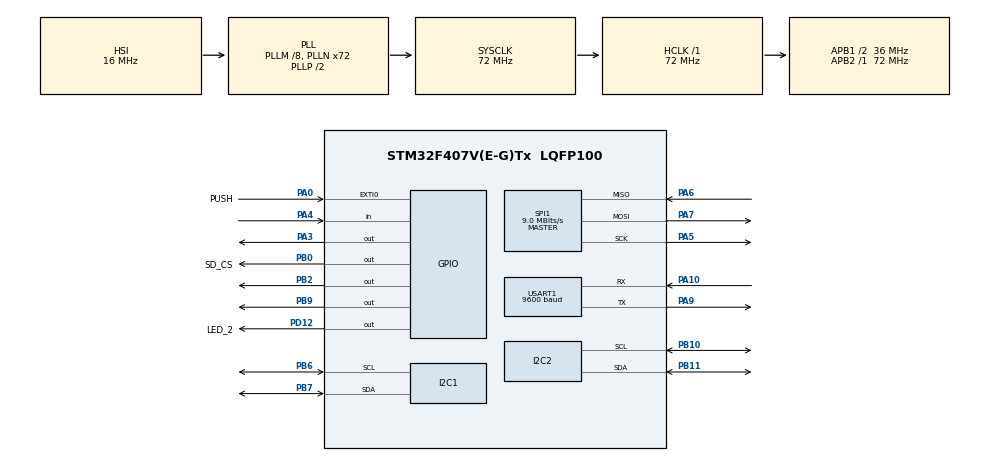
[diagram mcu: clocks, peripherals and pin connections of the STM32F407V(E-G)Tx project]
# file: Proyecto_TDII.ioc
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FATFS._FS_TINY=1
FATFS._USE_LFN=1
I2C1.I2C_Mode=I2C_Fast
I2C2.I2C_Mode=I2C_Fast
Mcu.Family=STM32F4
Mcu.Name=STM32F407V(E-G)Tx
Mcu.Package=LQFP100
NVIC.EXTI0_IRQn=true\:1\:0\:true\:false\:true\:true\:true\:true
NVIC.PriorityGroup=NVIC_PRIORITYGROUP_4
NVIC.RTC_Alarm_IRQn=true\:0\:0\:true\:false\:true\:true\:true\:true
PA0-WKUP.GPIO_Label=PUSH
PA0-WKUP.GPIO_PuPd=GPIO_PULLDOWN
PA0-WKUP.Signal=GPXTI0
PA10.Mode=Asynchronous
PA10.Signal=USART1_RX
PA13.Mode=Serial_Wire
PA13.Signal=SYS_JTMS-SWDIO
PA14.Mode=Serial_Wire
PA14.Signal=SYS_JTCK-SWCLK
PA3.Signal=GPIO_Output
PA4.Signal=GPIO_Input
PA5.Mode=Full_Duplex_Master
PA5.Signal=SPI1_SCK
PA6.Mode=Full_Duplex_Master
PA6.Signal=SPI1_MISO
PA7.Mode=Full_Duplex_Master
PA7.Signal=SPI1_MOSI
PA9.Mode=Asynchronous
PA9.Signal=USART1_TX
PB0.GPIO_Label=SD_CS
PB0.Signal=GPIO_Output
PB10.Mode=I2C
PB10.Signal=I2C2_SCL
PB11.Mode=I2C
PB11.Signal=I2C2_SDA
PB2.Signal=GPIO_Output
PB6.Mode=I2C
PB6.Signal=I2C1_SCL
PB7.Mode=I2C
PB7.Signal=I2C1_SDA
PB9.Signal=GPIO_Output
PD12.GPIO_Label=LED_2
PD12.Signal=GPIO_Output
PH0-OSC_IN.Mode=HSE-External-Oscillator
PH0-OSC_IN.Signal=RCC_OSC_IN
PH1-OSC_OUT.Mode=HSE-External-Oscillator
PH1-OSC_OUT.Signal=RCC_OSC_OUT
ProjectManager.HeapSize=0x200
ProjectManager.StackSize=0x400
ProjectManager.TargetToolchain=STM32CubeIDE
RCC.48MHZClocksFreq_Value=36000000
RCC.AHBFreq_Value=72000000
RCC.APB1CLKDivider=RCC_HCLK_DIV2
RCC.APB1Freq_Value=36000000
RCC.APB1TimFreq_Value=72000000
RCC.APB2Freq_Value=72000000
RCC.APB2TimFreq_Value=72000000
RCC.CortexFreq_Value=72000000
RCC.HCLKFreq_Value=72000000
RCC.HSE_VALUE=25000000
RCC.HSI_VALUE=16000000
RCC.LSE_VALUE=32768
RCC.PLLM=8
RCC.PLLN=72
RCC.SYSCLKFreq_VALUE=72000000
RCC.SYSCLKSource=RCC_SYSCLKSOURCE_PLLCLK
RCC.VCOOutputFreq_Value=144000000
RTC.Alarm=RTC_ALARM_A
RTC.Date=12
RTC.Month=RTC_MONTH_SEPTEMBER
RTC.Seconds=2
RTC.Seconds_A=1
RTC.WeekDay=RTC_WEEKDAY_TUESDAY
SPI1.BaudRatePrescaler=SPI_BAUDRATEPRESCALER_8
SPI1.CalculateBaudRate=9.0 MBits/s
SPI1.Direction=SPI_DIRECTION_2LINES
SPI1.Mode=SPI_MODE_MASTER
SPI1.VirtualType=VM_MASTER
TIM1.Prescaler=71
TIM2.Period=65535
TIM2.Prescaler=71
USART1.BaudRate=9600
USART1.VirtualMode=VM_ASYNC
VP_FATFS_VS_Generic.Mode=User_defined
VP_RTC_VS_RTC_Activate.Mode=RTC_Enabled
VP_RTC_VS_RTC_Alarm_A_Intern.Mode=Alarm A
VP_RTC_VS_RTC_Calendar.Mode=RTC_Calendar
VP_TIM1_VS_ClockSourceINT.Mode=Internal
VP_TIM2_VS_ClockSourceINT.Mode=Internal
board=custom

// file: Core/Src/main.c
/* USER CODE BEGIN Header */
/**
  ******************************************************************************
  * @file           : main.c
  * @brief          : Main program body
  ******************************************************************************
  * @attention
  *
  * Autor : Pazos Aldana
  * Data Logger
  *
  ******************************************************************************
  */
/* USER CODE END Header */
#include "main.h"
#include "fatfs.h"

/* USER CODE BEGIN Includes */
#include "fatfs_sd.h"
#include <string.h>
#include <stdio.h>
#include "ssd1306.h"
#include "bitmap.h"

/* USER CODE END Includes */

I2C_HandleTypeDef hi2c1;
I2C_HandleTypeDef hi2c2;

RTC_HandleTypeDef hrtc;

SPI_HandleTypeDef hspi1;

TIM_HandleTypeDef htim1;
TIM_HandleTypeDef htim2;

UART_HandleTypeDef huart1;

/* USER CODE BEGIN PV */
FATFS fs;  				// file system
FIL fil; 				// File
FILINFO fno;
FRESULT fresult;  		// result
UINT br, bw;  			// File read/write count

/**** microSD capacity related *****/
FATFS *pfs;         //Puntero para recorrer los archivos
DWORD fre_clust;   //Espacio libre en la SD

char buffer[128];	//buffer para escribir/leer en microSD

/* USER CODE END PV */

void SystemClock_Config(void);
static void MX_GPIO_Init(void);
static void MX_SPI1_Init(void);
static void MX_USART1_UART_Init(void);
static void MX_I2C1_Init(void);
static void MX_TIM1_Init(void);
static void MX_RTC_Init(void);
static void MX_TIM2_Init(void);
static void MX_I2C2_Init(void);
/* USER CODE BEGIN PFP */
static void bufclear(char *buf, uint16_t len);
static void send_uart(char *string);
static void microSD_init(void);
static void microSD_getSize(void);
static void microSD_put(char *name, char *dato);
static void microSD_get(char *name);
void microDelay (uint16_t delay);
uint8_t DHT22_Start (void);
uint8_t DHT22_Read (void);
void HAL_RTC_AlarmAEventCallback(RTC_HandleTypeDef *hrtc);
void pantalla_principal();
void pantalla_temperatura();
void pantalla_distancia();
void leer_temperatura();
void leer_distancia();
/* USER CODE END PFP */

/* USER CODE BEGIN 0 */

//Pametros sensor temperatura
#define DHT22_PORT GPIOB
#define DHT22_PIN GPIO_PIN_9
uint8_t RH1, RH2, TC1, TC2, SUM, CHECK;
uint32_t pMillis, cMillis;
float tCelsius = 0;
float tFahrenheit = 0;
float RH = 0;
uint8_t RHI, RHD, TCI, TCD, TFI, TFD;

//Para visualizar en sd y en oled
char strCopy[15];
char strCopy2[15];
char strCopy3[15];
int screenState;
#define SCREEN_TEMPERATURE 0
#define SCREEN_DISTANCE 1
unsigned int contador=0;
int guardar=0;

//Parametros sensor distancia
uint32_t IC_Val1 = 0;
uint32_t IC_Val2 = 0;
uint32_t Difference = 0;
uint8_t Is_First_Captured = 0;  // is the first value captured ?
uint8_t Distance  = 0;

#define TRIG_PIN GPIO_PIN_3
#define TRIG_PORT GPIOA
#define ECHO_PIN GPIO_PIN_4
#define ECHO_PORT GPIOA

uint32_t pMillisd;
uint32_t val1 = 0;
uint32_t val2 = 0;
uint16_t distance  = 0;
char string[15];
/* USER CODE END 0 */

int main(void)
{

  /* MCU Configuration--------------------------------------------------------*/

  /* Reset of all peripherals, Initializes the Flash interface and the Systick. */
  HAL_Init();

  /* Configure the system clock */
  SystemClock_Config();

  /* Initialize all configured peripherals */
  MX_GPIO_Init();
  MX_SPI1_Init();
  MX_FATFS_Init();
  MX_USART1_UART_Init();
  MX_I2C1_Init();
  MX_TIM1_Init();
  MX_RTC_Init();
  MX_TIM2_Init();
  MX_I2C2_Init();
  /* USER CODE BEGIN 2 */
  HAL_TIM_Base_Start(&htim1);  //Timer 1
  HAL_TIM_Base_Start(&htim2);
  HAL_GPIO_WritePin(TRIG_PORT, TRIG_PIN, GPIO_PIN_RESET);

  microSD_init();
  microSD_getSize();
  ssd1306_Init();

  leer_temperatura();
  leer_distancia();

 /* TCHAR *temp = strCopy2;
  char *dist = string;
  //microSD_put("Temperatura.txt",temp);
  microSD_put("Distancia.txt",dist);
  //microSD_put("prueba.txt","Hola");*/

  pantalla_principal();

 //microSD_get("prueba1.txt");

  /* USER CODE END 2 */

  /* Infinite loop */
  /* USER CODE BEGIN WHILE */

  while (1)
  {
	  leer_temperatura();
	  leer_distancia();

	  if(contador==0)
		  pantalla_temperatura();
	    else if(contador==1)//Si apreto el boton, paso a la otra pantalla.
	    	pantalla_distancia();

	 if(guardar>=2)
	  {

		  microSD_put("prueba.txt","Hola");
		  guardar=0;

	  }

    /* USER CODE END WHILE */

  }
}

void SystemClock_Config(void)
{
  RCC_OscInitTypeDef RCC_OscInitStruct = {0};
  RCC_ClkInitTypeDef RCC_ClkInitStruct = {0};

  /** Configure the main internal regulator output voltage
  */
  __HAL_RCC_PWR_CLK_ENABLE();
  __HAL_PWR_VOLTAGESCALING_CONFIG(PWR_REGULATOR_VOLTAGE_SCALE1);

  /** Initializes the RCC Oscillators according to the specified parameters
  * in the RCC_OscInitTypeDef structure.
  */
  RCC_OscInitStruct.OscillatorType = RCC_OSCILLATORTYPE_HSI|RCC_OSCILLATORTYPE_LSI;
  RCC_OscInitStruct.HSIState = RCC_HSI_ON;
  RCC_OscInitStruct.HSICalibrationValue = RCC_HSICALIBRATION_DEFAULT;
  RCC_OscInitStruct.LSIState = RCC_LSI_ON;
  RCC_OscInitStruct.PLL.PLLState = RCC_PLL_ON;
  RCC_OscInitStruct.PLL.PLLSource = RCC_PLLSOURCE_HSI;
  RCC_OscInitStruct.PLL.PLLM = 8;
  RCC_OscInitStruct.PLL.PLLN = 72;
  RCC_OscInitStruct.PLL.PLLP = RCC_PLLP_DIV2;
  RCC_OscInitStruct.PLL.PLLQ = 4;
  if (HAL_RCC_OscConfig(&RCC_OscInitStruct) != HAL_OK)
  {
    Error_Handler();
  }

  /** Initializes the CPU, AHB and APB buses clocks
  */
  RCC_ClkInitStruct.ClockType = RCC_CLOCKTYPE_HCLK|RCC_CLOCKTYPE_SYSCLK
                              |RCC_CLOCKTYPE_PCLK1|RCC_CLOCKTYPE_PCLK2;
  RCC_ClkInitStruct.SYSCLKSource = RCC_SYSCLKSOURCE_PLLCLK;
  RCC_ClkInitStruct.AHBCLKDivider = RCC_SYSCLK_DIV1;
  RCC_ClkInitStruct.APB1CLKDivider = RCC_HCLK_DIV2;
  RCC_ClkInitStruct.APB2CLKDivider = RCC_HCLK_DIV1;

  if (HAL_RCC_ClockConfig(&RCC_ClkInitStruct, FLASH_LATENCY_2) != HAL_OK)
  {
    Error_Handler();
  }
}

static void MX_I2C1_Init(void)
{

  hi2c1.Instance = I2C1;
  hi2c1.Init.ClockSpeed = 400000;
  hi2c1.Init.DutyCycle = I2C_DUTYCYCLE_2;
  hi2c1.Init.OwnAddress1 = 0;
  hi2c1.Init.AddressingMode = I2C_ADDRESSINGMODE_7BIT;
  hi2c1.Init.DualAddressMode = I2C_DUALADDRESS_DISABLE;
  hi2c1.Init.OwnAddress2 = 0;
  hi2c1.Init.GeneralCallMode = I2C_GENERALCALL_DISABLE;
  hi2c1.Init.NoStretchMode = I2C_NOSTRETCH_DISABLE;
  if (HAL_I2C_Init(&hi2c1) != HAL_OK)
  {
    Error_Handler();
  }

}

static void MX_I2C2_Init(void)
{

  hi2c2.Instance = I2C2;
  hi2c2.Init.ClockSpeed = 400000;
  hi2c2.Init.DutyCycle = I2C_DUTYCYCLE_2;
  hi2c2.Init.OwnAddress1 = 0;
  hi2c2.Init.AddressingMode = I2C_ADDRESSINGMODE_7BIT;
  hi2c2.Init.DualAddressMode = I2C_DUALADDRESS_DISABLE;
  hi2c2.Init.OwnAddress2 = 0;
  hi2c2.Init.GeneralCallMode = I2C_GENERALCALL_DISABLE;
  hi2c2.Init.NoStretchMode = I2C_NOSTRETCH_DISABLE;
  if (HAL_I2C_Init(&hi2c2) != HAL_OK)
  {
    Error_Handler();
  }

}

static void MX_RTC_Init(void)
{

  RTC_TimeTypeDef sTime = {0};
  RTC_DateTypeDef sDate = {0};
  RTC_AlarmTypeDef sAlarm = {0};

  /** Initialize RTC Only
  */
  hrtc.Instance = RTC;
  hrtc.Init.HourFormat = RTC_HOURFORMAT_24;
  hrtc.Init.AsynchPrediv = 127;
  hrtc.Init.SynchPrediv = 255;
  hrtc.Init.OutPut = RTC_OUTPUT_DISABLE;
  hrtc.Init.OutPutPolarity = RTC_OUTPUT_POLARITY_HIGH;
  hrtc.Init.OutPutType = RTC_OUTPUT_TYPE_OPENDRAIN;
  if (HAL_RTC_Init(&hrtc) != HAL_OK)
  {
    Error_Handler();
  }

  /** Initialize RTC and set the Time and Date
  */
  sTime.Hours = 0x0;
  sTime.Minutes = 0x0;
  sTime.Seconds = 0x2;
  sTime.DayLightSaving = RTC_DAYLIGHTSAVING_NONE;
  sTime.StoreOperation = RTC_STOREOPERATION_RESET;
  if (HAL_RTC_SetTime(&hrtc, &sTime, RTC_FORMAT_BCD) != HAL_OK)
  {
    Error_Handler();
  }
  sDate.WeekDay = RTC_WEEKDAY_TUESDAY;
  sDate.Month = RTC_MONTH_SEPTEMBER;
  sDate.Date = 0x12;
  sDate.Year = 0x0;

  if (HAL_RTC_SetDate(&hrtc, &sDate, RTC_FORMAT_BCD) != HAL_OK)
  {
    Error_Handler();
  }

  /** Enable the Alarm A
  */
  sAlarm.AlarmTime.Hours = 0x0;
  sAlarm.AlarmTime.Minutes = 0x0;
  sAlarm.AlarmTime.Seconds = 0x1;
  sAlarm.AlarmTime.SubSeconds = 0x0;
  sAlarm.AlarmTime.DayLightSaving = RTC_DAYLIGHTSAVING_NONE;
  sAlarm.AlarmTime.StoreOperation = RTC_STOREOPERATION_RESET;
  sAlarm.AlarmMask = RTC_ALARMMASK_NONE;
  sAlarm.AlarmSubSecondMask = RTC_ALARMSUBSECONDMASK_ALL;
  sAlarm.AlarmDateWeekDaySel = RTC_ALARMDATEWEEKDAYSEL_DATE;
  sAlarm.AlarmDateWeekDay = 0x1;
  sAlarm.Alarm = RTC_ALARM_A;
  if (HAL_RTC_SetAlarm_IT(&hrtc, &sAlarm, RTC_FORMAT_BCD) != HAL_OK)
  {
    Error_Handler();
  }

}

static void MX_SPI1_Init(void)
{

  /* SPI1 parameter configuration*/
  hspi1.Instance = SPI1;
  hspi1.Init.Mode = SPI_MODE_MASTER;
  hspi1.Init.Direction = SPI_DIRECTION_2LINES;
  hspi1.Init.DataSize = SPI_DATASIZE_8BIT;
  hspi1.Init.CLKPolarity = SPI_POLARITY_LOW;
  hspi1.Init.CLKPhase = SPI_PHASE_1EDGE;
  hspi1.Init.NSS = SPI_NSS_SOFT;
  hspi1.Init.BaudRatePrescaler = SPI_BAUDRATEPRESCALER_8;
  hspi1.Init.FirstBit = SPI_FIRSTBIT_MSB;
  hspi1.Init.TIMode = SPI_TIMODE_DISABLE;
  hspi1.Init.CRCCalculation = SPI_CRCCALCULATION_DISABLE;
  hspi1.Init.CRCPolynomial = 10;
  if (HAL_SPI_Init(&hspi1) != HAL_OK)
  {
    Error_Handler();
  }

}

static void MX_TIM1_Init(void)
{

  TIM_ClockConfigTypeDef sClockSourceConfig = {0};
  TIM_MasterConfigTypeDef sMasterConfig = {0};

  htim1.Instance = TIM1;
  htim1.Init.Prescaler = 71;
  htim1.Init.CounterMode = TIM_COUNTERMODE_UP;
  htim1.Init.Period = 65535;
  htim1.Init.ClockDivision = TIM_CLOCKDIVISION_DIV1;
  htim1.Init.RepetitionCounter = 0;
  htim1.Init.AutoReloadPreload = TIM_AUTORELOAD_PRELOAD_DISABLE;
  if (HAL_TIM_Base_Init(&htim1) != HAL_OK)
  {
    Error_Handler();
  }
  sClockSourceConfig.ClockSource = TIM_CLOCKSOURCE_INTERNAL;
  if (HAL_TIM_ConfigClockSource(&htim1, &sClockSourceConfig) != HAL_OK)
  {
    Error_Handler();
  }
  sMasterConfig.MasterOutputTrigger = TIM_TRGO_RESET;
  sMasterConfig.MasterSlaveMode = TIM_MASTERSLAVEMODE_DISABLE;
  if (HAL_TIMEx_MasterConfigSynchronization(&htim1, &sMasterConfig) != HAL_OK)
  {
    Error_Handler();
  }

}

static void MX_TIM2_Init(void)
{

  TIM_ClockConfigTypeDef sClockSourceConfig = {0};
  TIM_MasterConfigTypeDef sMasterConfig = {0};

  htim2.Instance = TIM2;
  htim2.Init.Prescaler = 71;
  htim2.Init.CounterMode = TIM_COUNTERMODE_UP;
  htim2.Init.Period = 65535;
  htim2.Init.ClockDivision = TIM_CLOCKDIVISION_DIV1;
  htim2.Init.AutoReloadPreload = TIM_AUTORELOAD_PRELOAD_DISABLE;
  if (HAL_TIM_Base_Init(&htim2) != HAL_OK)
  {
    Error_Handler();
  }
  sClockSourceConfig.ClockSource = TIM_CLOCKSOURCE_INTERNAL;
  if (HAL_TIM_ConfigClockSource(&htim2, &sClockSourceConfig) != HAL_OK)
  {
    Error_Handler();
  }
  sMasterConfig.MasterOutputTrigger = TIM_TRGO_RESET;
  sMasterConfig.MasterSlaveMode = TIM_MASTERSLAVEMODE_DISABLE;
  if (HAL_TIMEx_MasterConfigSynchronization(&htim2, &sMasterConfig) != HAL_OK)
  {
    Error_Handler();
  }

}

static void MX_USART1_UART_Init(void)
{

  huart1.Instance = USART1;
  huart1.Init.BaudRate = 9600;
  huart1.Init.WordLength = UART_WORDLENGTH_8B;
  huart1.Init.StopBits = UART_STOPBITS_1;
  huart1.Init.Parity = UART_PARITY_NONE;
  huart1.Init.Mode = UART_MODE_TX_RX;
  huart1.Init.HwFlowCtl = UART_HWCONTROL_NONE;
  huart1.Init.OverSampling = UART_OVERSAMPLING_16;
  if (HAL_UART_Init(&huart1) != HAL_OK)
  {
    Error_Handler();
  }

}

static void MX_GPIO_Init(void)
{
  GPIO_InitTypeDef GPIO_InitStruct = {0};

  /* GPIO Ports Clock Enable */
  __HAL_RCC_GPIOH_CLK_ENABLE();
  __HAL_RCC_GPIOA_CLK_ENABLE();
  __HAL_RCC_GPIOB_CLK_ENABLE();
  __HAL_RCC_GPIOD_CLK_ENABLE();

  /*Configure GPIO pin Output Level */
  HAL_GPIO_WritePin(GPIOA, GPIO_PIN_3, GPIO_PIN_RESET);

  /*Configure GPIO pin Output Level */
  HAL_GPIO_WritePin(GPIOB, SD_CS_Pin|GPIO_PIN_2|GPIO_PIN_9, GPIO_PIN_RESET);

  /*Configure GPIO pin Output Level */
  HAL_GPIO_WritePin(LED_2_GPIO_Port, LED_2_Pin, GPIO_PIN_RESET);

  /*Configure GPIO pin : PUSH_Pin */
  GPIO_InitStruct.Pin = PUSH_Pin;
  GPIO_InitStruct.Mode = GPIO_MODE_IT_RISING;
  GPIO_InitStruct.Pull = GPIO_PULLDOWN;
  HAL_GPIO_Init(PUSH_GPIO_Port, &GPIO_InitStruct);

  /*Configure GPIO pin : PA3 */
  GPIO_InitStruct.Pin = GPIO_PIN_3;
  GPIO_InitStruct.Mode = GPIO_MODE_OUTPUT_PP;
  GPIO_InitStruct.Pull = GPIO_NOPULL;
  GPIO_InitStruct.Speed = GPIO_SPEED_FREQ_LOW;
  HAL_GPIO_Init(GPIOA, &GPIO_InitStruct);

  /*Configure GPIO pin : PA4 */
  GPIO_InitStruct.Pin = GPIO_PIN_4;
  GPIO_InitStruct.Mode = GPIO_MODE_INPUT;
  GPIO_InitStruct.Pull = GPIO_NOPULL;
  HAL_GPIO_Init(GPIOA, &GPIO_InitStruct);

  /*Configure GPIO pins : SD_CS_Pin PB2 PB9 */
  GPIO_InitStruct.Pin = SD_CS_Pin|GPIO_PIN_2|GPIO_PIN_9;
  GPIO_InitStruct.Mode = GPIO_MODE_OUTPUT_PP;
  GPIO_InitStruct.Pull = GPIO_NOPULL;
  GPIO_InitStruct.Speed = GPIO_SPEED_FREQ_LOW;
  HAL_GPIO_Init(GPIOB, &GPIO_InitStruct);

  /*Configure GPIO pin : LED_2_Pin */
  GPIO_InitStruct.Pin = LED_2_Pin;
  GPIO_InitStruct.Mode = GPIO_MODE_OUTPUT_PP;
  GPIO_InitStruct.Pull = GPIO_NOPULL;
  GPIO_InitStruct.Speed = GPIO_SPEED_FREQ_LOW;
  HAL_GPIO_Init(LED_2_GPIO_Port, &GPIO_InitStruct);

  /* EXTI interrupt init*/
  HAL_NVIC_SetPriority(EXTI0_IRQn, 1, 0);
  HAL_NVIC_EnableIRQ(EXTI0_IRQn);

}

/* USER CODE BEGIN 4 */
void HAL_GPIO_EXTI_Callback(uint16_t GPIO_Pin)
{
	contador++;
	guardar++;
	if(contador == 2) contador=0;
	if(guardar>=3) guardar=0;

}

//Funcion pantalla principal

void pantalla_principal()
{
	//Pantalla utn
	ssd1306_DrawBitmap(30, 0, LogoUTN, 128, 64, White);
	ssd1306_UpdateScreen();
	HAL_Delay(3000);

	//Pantalla autor
	ssd1306_Fill(Black);
	ssd1306_SetCursor(40, 0);
	ssd1306_WriteString("UTN-FRBB", Font_7x10, White); //Uso 8 pixeles de y
	ssd1306_SetCursor(30, 20);
	ssd1306_WriteString("Data Logger", Font_7x10, White); //Uso 8 pixeles de y
	ssd1306_SetCursor(0, 40);
	ssd1306_WriteString("Alumna:", Font_6x8, White);
	ssd1306_SetCursor(30, 50);
	ssd1306_WriteString("Pazos Aldana", Font_6x8, White);

	ssd1306_UpdateScreen();
	HAL_Delay(3000);

}

//-------------------------------------------------------------------------
//Leer Temperatura
void leer_temperatura()
{
	 if(DHT22_Start())
	{
	    RH1 = DHT22_Read(); // First 8bits of humidity
	    RH2 = DHT22_Read(); // Second 8bits of Relative humidity
	    TC1 = DHT22_Read(); // First 8bits of Celsius
	    TC2 = DHT22_Read(); // Second 8bits of Celsius
	    SUM = DHT22_Read(); // Check sum
	    CHECK = RH1 + RH2 + TC1 + TC2;
	    if (CHECK == SUM)
	     {
	          if (TC1>127) // If TC1=10000000, negative temperature
	          	  {tCelsius = (float)TC2/10*(-1);}
			  else
			  	  {tCelsius = (float)((TC1<<8)|TC2)/10;}
			  tFahrenheit = tCelsius * 9/5 + 32;
			  RH = (float) ((RH1<<8)|RH2)/10;
			  RHI = RH;  // Relative humidity integral
			  RHD = RH*10-RHI*10; // Relative humidity decimal

			  if (tCelsius < 0)
			  {
			     TCI = tCelsius *(-1);  // Celsius integral
			     TCD = tCelsius*(-10)-TCI*10; // Celsius decimal
			  }
			  else
			  {
			      TCI = tCelsius;  // Celsius integral
			      TCD = tCelsius*10-TCI*10; // Celsius decimal

			   }

			  if(tFahrenheit < 0)
			   {
			      TFI = tFahrenheit*(-1);  // Fahrenheit integral
			      TFD = tFahrenheit*(-10)-TFI*10; // Fahrenheit decimal

			    }
			    else
			    {
			       TFI = tFahrenheit;  // Fahrenheit integral
			       TFD = tFahrenheit*10-TFI*10; // Fahrenheit decimal
			     }

	     }
		}

}
//Pantalla Sensor de Temperatura
void pantalla_temperatura()
{

	 ssd1306_Fill(Black);
	ssd1306_SetCursor(0,0);
	leer_temperatura();
	ssd1306_WriteString("Sensor Temperatura:", Font_7x10, White);

	sprintf(strCopy,"%d.%d %%  ", RHI, RHD);
	ssd1306_SetCursor(0, 20);
	ssd1306_WriteString("Humedad= ", Font_6x8, White);
	ssd1306_SetCursor(80, 20);
	ssd1306_WriteString(strCopy, Font_6x8, White);  //Visualizar en OLED
	ssd1306_SetCursor(0, 40);

//	sprintf(strCopy2,"-%d.%d C   ", TCI, TCD);

	sprintf(strCopy2,"%d.%d C   ", TCI, TCD);

	ssd1306_WriteString("Temperatura= ", Font_6x8, White);
	ssd1306_WriteString(strCopy2, Font_6x8, White);  //Visualizar en OLED

//	sprintf(strCopy3,"-%d.%d F   ", TFI, TFD);

	sprintf(strCopy3,"%d.%d F   ", TFI, TFD);
	ssd1306_SetCursor(80, 50);
	ssd1306_WriteString(strCopy3, Font_6x8, White);  //Visualizar en OLED
	ssd1306_UpdateScreen();

	char *temp = strCopy2;
	microSD_put("Temperatura.txt",temp);

	 if(contador!=0){pantalla_distancia();}
	  else pantalla_temperatura();
//Si es 0 es temperatura

}

//----------------------------------------------------------------------------
//Leer distancia
void leer_distancia()
{
	 HAL_GPIO_WritePin(TRIG_PORT, TRIG_PIN, GPIO_PIN_SET);
	__HAL_TIM_SET_COUNTER(&htim2, 0);
	 while (__HAL_TIM_GET_COUNTER (&htim2) < 10);  // wait for 10 us
	 HAL_GPIO_WritePin(TRIG_PORT, TRIG_PIN, GPIO_PIN_RESET);
	  pMillisd = HAL_GetTick();
	  while (!(HAL_GPIO_ReadPin (ECHO_PORT, ECHO_PIN)) && pMillisd + 10 >  HAL_GetTick());
	  val1 = __HAL_TIM_GET_COUNTER (&htim2);

	  pMillis = HAL_GetTick();
	  while ((HAL_GPIO_ReadPin (ECHO_PORT, ECHO_PIN)) && pMillisd + 50 > HAL_GetTick());
	  val2 = __HAL_TIM_GET_COUNTER (&htim2);

	  distance = (val2-val1)* 0.034/2;

}

//--------------------------------------------------------------------------------

// Pantalla Sensor de Distancia

void pantalla_distancia()
{

	ssd1306_Fill(Black);
    ssd1306_SetCursor(0, 0);
	 leer_distancia();

	ssd1306_WriteString("Sensor Distancia", Font_7x10, White);

	 ssd1306_SetCursor(0, 20);
	 ssd1306_WriteString("Distancia al objeto:", Font_6x8, White);
	 sprintf(string,"%d cm  ", distance);
	  ssd1306_SetCursor(45, 40);
	  ssd1306_WriteString(string, Font_11x18, White);
	  ssd1306_UpdateScreen();
	 HAL_Delay(800);

	 char *dist = string;
	 microSD_put("Distancia.txt",dist);

	 if(contador!=1){pantalla_temperatura();}
	  else pantalla_distancia();

	//si es 1 es distancia.
}
//----------------------------------------------------------------------------
//Funcion para limiar el buffer
static void bufclear(char *buf, uint16_t len) {
	for (int i = 0; i < len; i++) {
		buf[i] = '\0';
	}
}
//------------------------------------------------------------

static void send_uart(char *string) {
	uint8_t len = strlen(string);
	HAL_UART_Transmit(&huart1, (uint8_t*) string, len, 2000);
}
//------------------------------------------------------------

//Montamos el sistema de archivos
static void microSD_init(void) {
	fresult = f_mount(&fs, "/", 1);
	if (fresult != FR_OK)
		send_uart("ERROR!!! montaje tarjeta microSD fallido...\n");
	else
		send_uart("microSD CARD montada con exito\n");
}
//------------------------------------------------------------

//leemos la capacidad y el espacio libre
static void microSD_getSize(void) {
	f_getfree("", &fre_clust, &pfs);	//check free space

	//get microSD size in KB
	uint32_t total = (uint32_t) ((pfs->n_fatent - 2) * pfs->csize * 0.5);
	sprintf(buffer, "SD CARD Total Size: \t%luKB\n", total);
	send_uart(buffer);
	uint16_t len = strlen(buffer);
	bufclear(buffer, len);

	//get free space in KB
	uint32_t freeSpace;
	freeSpace = (uint32_t) (fre_clust * pfs->csize * 0.5);
	sprintf(buffer, "SD CARD Free Space: \t%luKB\n\n", freeSpace);
	send_uart(buffer);
	len = strlen(buffer);
	bufclear(buffer, len);
}
//------------------------------------------------------------

//guardamos informacion con PUTS
static void microSD_put(char *name, char *dato)
{
	//Open file to write/ create a file if it doesn't exist
	fresult = f_open(&fil, name, FA_OPEN_ALWAYS | FA_READ | FA_WRITE);

	//Write data
	f_puts(dato, &fil);
	//f_puts("Hola",&fil);

	//Close file
	fresult = f_close(&fil);

	if (fresult == FR_OK) {
		sprintf(buffer, "%s%s", name, " creado y los datos fueron escritos\n");
		send_uart(buffer);
	}

	uint8_t len = strlen(buffer);
	bufclear(buffer, len);
}
//------------------------------------------------------------
//Leemos informacion con get

static void microSD_get(char *name) {
	//Open file to read
	fresult = f_open(&fil, name, FA_READ);

	if (fresult == FR_OK) {
		//Read data from the file */
		f_gets(buffer, f_size(&fil), &fil);

		char msg[50];
		sprintf(msg, "%s%s", name,
				" Fue abierto y contiene los siguientes datos:\n");
		send_uart(msg);
		send_uart(buffer);
		send_uart("\n");

		/* Close file */
		f_close(&fil);
		uint8_t len = strlen(buffer);
		bufclear(buffer, len);
	}
}
//------------------------------------------------------------
void microDelay (uint16_t delay)
{
  __HAL_TIM_SET_COUNTER(&htim1, 0);
  while (__HAL_TIM_GET_COUNTER(&htim1) < delay);
}
//---------------------------------------------------------------
uint8_t DHT22_Start (void)
{
  uint8_t Response = 0;
  GPIO_InitTypeDef GPIO_InitStructPrivate = {0};
  GPIO_InitStructPrivate.Pin = DHT22_PIN;
  GPIO_InitStructPrivate.Mode = GPIO_MODE_OUTPUT_PP;
  GPIO_InitStructPrivate.Speed = GPIO_SPEED_FREQ_LOW;
  GPIO_InitStructPrivate.Pull = GPIO_NOPULL;
  HAL_GPIO_Init(DHT22_PORT, &GPIO_InitStructPrivate); // set the pin as output
  HAL_GPIO_WritePin (DHT22_PORT, DHT22_PIN, 0);   // pull the pin low
  microDelay (1300);   // wait for 1300us
  HAL_GPIO_WritePin (DHT22_PORT, DHT22_PIN, 1);   // pull the pin high
  microDelay (30);   // wait for 30us
  GPIO_InitStructPrivate.Mode = GPIO_MODE_INPUT;
  GPIO_InitStructPrivate.Pull = GPIO_PULLUP;
  HAL_GPIO_Init(DHT22_PORT, &GPIO_InitStructPrivate); // set the pin as input
  microDelay (40);
  if (!(HAL_GPIO_ReadPin (DHT22_PORT, DHT22_PIN)))
  {
    microDelay (80);
    if ((HAL_GPIO_ReadPin (DHT22_PORT, DHT22_PIN))) Response = 1;
  }
  pMillis = HAL_GetTick();
  cMillis = HAL_GetTick();
  while ((HAL_GPIO_ReadPin (DHT22_PORT, DHT22_PIN)) && pMillis + 2 > cMillis)
  {
    cMillis = HAL_GetTick();
  }
  return Response;
}
//------------------------------------------------------------
uint8_t DHT22_Read (void)
{
  uint8_t a,b;
  for (a=0;a<8;a++)
  {
    pMillis = HAL_GetTick();
    cMillis = HAL_GetTick();
    while (!(HAL_GPIO_ReadPin (DHT22_PORT, DHT22_PIN)) && pMillis + 2 > cMillis)
    {  // wait for the pin to go high
      cMillis = HAL_GetTick();
    }
    microDelay (40);   // wait for 40 us
    if (!(HAL_GPIO_ReadPin (DHT22_PORT, DHT22_PIN)))   // if the pin is low
      b&= ~(1<<(7-a));
    else
      b|= (1<<(7-a));
    pMillis = HAL_GetTick();
    cMillis = HAL_GetTick();
    while ((HAL_GPIO_ReadPin (DHT22_PORT, DHT22_PIN)) && pMillis + 2 > cMillis)
    {  // wait for the pin to go low
      cMillis = HAL_GetTick();
    }
  }
  return b;
}
//---------------------------------------------------------------
void HAL_RTC_AlarmAEventCallback(RTC_HandleTypeDef *hrtc)
{
  RTC_AlarmTypeDef sAlarm;
  HAL_RTC_GetAlarm(hrtc,&sAlarm,RTC_ALARM_A,FORMAT_BIN);
  if(sAlarm.AlarmTime.Seconds>58)
  {
    sAlarm.AlarmTime.Seconds=0;
  }else
  {
    sAlarm.AlarmTime.Seconds=sAlarm.AlarmTime.Seconds+1;
  }
    while(HAL_RTC_SetAlarm_IT(hrtc, &sAlarm, FORMAT_BIN)!=HAL_OK){}
    HAL_GPIO_TogglePin(GPIOD, GPIO_PIN_12);
}
//---------------------------------------------------------------------
/* USER CODE END 4 */

void Error_Handler(void)
{
  __disable_irq();
  while (1)
  {
  }
}
